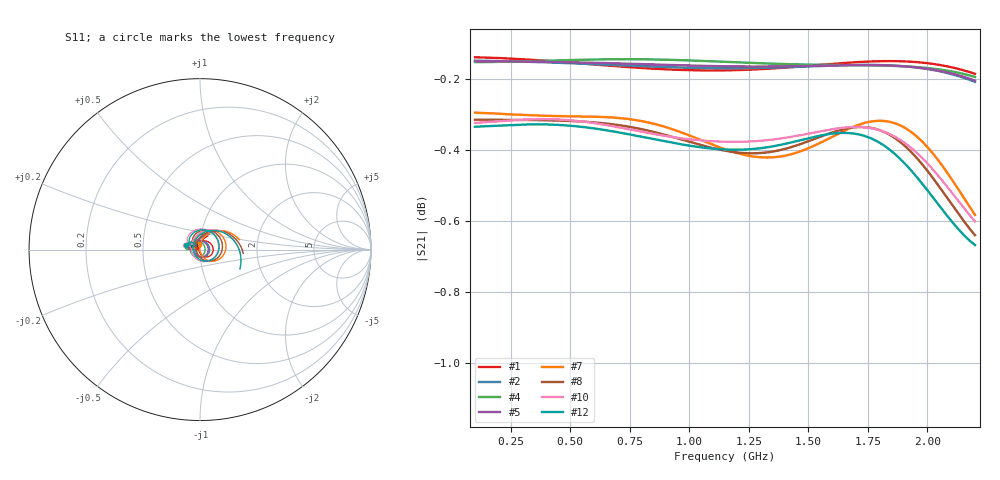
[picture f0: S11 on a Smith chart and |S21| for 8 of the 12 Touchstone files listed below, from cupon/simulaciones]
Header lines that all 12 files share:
! Chirptenna · simulación 3D de una microstrip de dos puertos (S12 = S21, S22 = S11 por simetría)
# HZ S RI R 50
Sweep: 100 MHz to 2.2 GHz
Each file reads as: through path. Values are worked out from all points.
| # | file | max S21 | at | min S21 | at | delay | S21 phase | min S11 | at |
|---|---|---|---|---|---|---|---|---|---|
| 1 | linea_w3.01_B28_er4.100_tan0.02.s2p | -0.14 dB | 100 MHz | -0.2 dB | 2.2 GHz | 269 ps | -111 deg at 1.15 GHz | -43.5 dB | 1.816 GHz |
| 2 | linea_w3.01_B28_er4.500_tan0.02.s2p | -0.15 dB | 100 MHz | -0.2 dB | 2.2 GHz | 281 ps | -116 deg at 1.15 GHz | -31.4 dB | 1.723 GHz |
| 3 | linea_w3.01_B28_er4.500_tan0.02_h1.5.s2p | -0.15 dB | 533.4 MHz | -0.2 dB | 2.2 GHz | 282 ps | -116 deg at 1.15 GHz | -28.1 dB | 966.7 MHz |
| 4 | linea_w3.01_B28_er4.500_tan0.02_h1.45.s2p | -0.14 dB | 737.6 MHz | -0.2 dB | 2.2 GHz | 282 ps | -116 deg at 1.15 GHz | -30.5 dB | 961 MHz |
| 5 | linea_w3.01_B28_er4.500_tan0.02_h1.55.s2p | -0.15 dB | 100 MHz | -0.2 dB | 2.2 GHz | 281 ps | -116 deg at 1.15 GHz | -28.8 dB | 1.696 GHz |
| 6 | linea_w3.01_B28_er4.900_tan0.02.s2p | -0.16 dB | 462.7 MHz | -0.2 dB | 2.2 GHz | 292 ps | -120 deg at 1.15 GHz | -28.6 dB | 940 MHz |
| 7 | linea_w3.01_B75_er4.100_tan0.02.s2p | -0.30 dB | 100 MHz | -0.6 dB | 2.2 GHz | 549 ps | 133 deg at 1.15 GHz | -59.9 dB | 1.795 GHz |
| 8 | linea_w3.01_B75_er4.500_tan0.02.s2p | -0.31 dB | 100 MHz | -0.6 dB | 2.2 GHz | 573 ps | 124 deg at 1.15 GHz | -33.5 dB | 1.717 GHz |
| 9 | linea_w3.01_B75_er4.500_tan0.02_h1.5.s2p | -0.31 dB | 376.8 MHz | -0.6 dB | 2.2 GHz | 575 ps | 123 deg at 1.15 GHz | -28.3 dB | 468.5 MHz |
| 10 | linea_w3.01_B75_er4.500_tan0.02_h1.45.s2p | -0.31 dB | 392.1 MHz | -0.6 dB | 2.2 GHz | 576 ps | 123 deg at 1.15 GHz | -26.5 dB | 460.8 MHz |
| 11 | linea_w3.01_B75_er4.500_tan0.02_h1.55.s2p | -0.32 dB | 336.7 MHz | -0.6 dB | 2.2 GHz | 574 ps | 124 deg at 1.15 GHz | -30.3 dB | 481.8 MHz |
| 12 | linea_w3.01_B75_er4.900_tan0.02.s2p | -0.33 dB | 363.5 MHz | -0.7 dB | 2.2 GHz | 596 ps | 115 deg at 1.15 GHz | -28.2 dB | 457 MHz |
